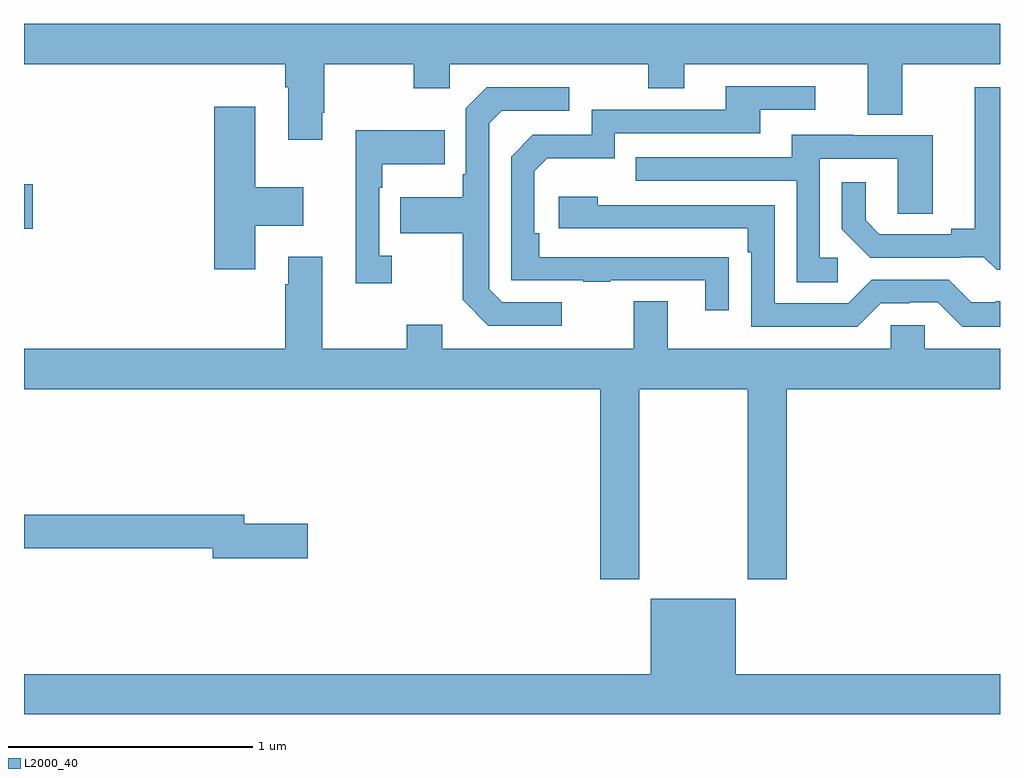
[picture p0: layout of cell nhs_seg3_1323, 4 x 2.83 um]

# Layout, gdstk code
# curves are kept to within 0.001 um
import gdstk
lib = gdstk.Library(unit=1e-6, precision=1e-09)
def R(c, l, rs):  # rectangles x0, y0, x1, y1
    for r in rs: c.add(gdstk.rectangle(r[:2], r[2:], *l))
def P(c, l, *ps):  # polygons
    for p in ps: c.add(gdstk.Polygon(p, *l))
L2000_40 = (2000, 40)

nhs_seg3_1323 = lib.new_cell('nhs_seg3_1323')
R(nhs_seg3_1323, L2000_40, [(179,722.885,179.035,723.068)])
P(nhs_seg3_1323, L2000_40, [(180.223,723.361),(180.231,723.361),(180.231,723.56),(180.598,723.56),(180.598,723.461),(180.744,723.461),(180.744,723.56),(181.558,723.56),(181.558,723.461),(181.705,723.461),(181.705,723.56),(182.459,723.56),(182.459,723.352),(182.599,723.352),(182.599,723.56),(183,723.56),(183,723.724),(179,723.724),(179,723.56),(180.071,723.56),(180.071,723.464),(180.083,723.464),(180.083,723.249),(180.223,723.249)],
  [(181.889,722.768),(181.112,722.769),(181.112,722.866),(181.092,722.866),(181.092,723.12),(181.145,723.173),(181.422,723.173),(181.422,723.276),(182.017,723.276),(182.017,723.372),(182.242,723.372),(182.242,723.468),(181.877,723.468),(181.877,723.372),(181.326,723.372),(181.326,723.27),(181.086,723.27),(180.996,723.18),(180.996,722.673),(181.291,722.673),(181.291,722.668),(181.403,722.668),(181.403,722.673),(181.793,722.673),(181.793,722.55),(181.889,722.55)],
  [(183,723.465),(182.897,723.465),(182.897,722.885),(182.801,722.885),(182.801,722.862),(182.506,722.862),(182.449,722.919),(182.449,723.076),(182.352,723.076),(182.352,722.882),(182.468,722.766),(182.84,722.766),(182.84,722.769),(182.934,722.769),(182.986,722.717),(183,722.717)],
  [(181.204,722.583),(180.96,722.583),(180.906,722.637),(180.906,723.318),(180.957,723.369),(181.234,723.369),(181.234,723.465),(180.897,723.465),(180.81,723.378),(180.81,723.109),(180.798,723.109),(180.798,723.013),(180.541,723.013),(180.541,722.866),(180.798,722.866),(180.798,722.593),(180.903,722.487),(181.204,722.487)],
  [(179.947,722.897),(180.145,722.897),(180.145,723.055),(179.947,723.055),(179.947,723.385),(179.78,723.385),(179.78,722.718),(179.947,722.718)],
  [(180.508,722.774),(180.456,722.774),(180.456,723.053),(180.469,723.053),(180.469,723.149),(180.725,723.149),(180.725,723.289),(180.359,723.289),(180.359,722.661),(180.508,722.661)],
  [(182.335,722.766),(182.262,722.766),(182.262,723.171),(182.58,723.171),(182.58,722.947),(182.725,722.947),(182.725,723.267),(182.401,723.267),(182.401,723.271),(182.147,723.271),(182.147,723.177),(181.507,723.177),(181.507,723.081),(182.166,723.081),(182.166,722.665),(182.335,722.665)],
  [(183,722.587),(182.983,722.587),(182.983,722.583),(182.883,722.583),(182.79,722.676),(182.475,722.676),(182.379,722.58),(182.076,722.58),(182.076,722.982),(181.352,722.982),(181.352,723.016),(181.191,723.016),(181.191,722.886),(181.967,722.886),(181.967,722.789),(181.98,722.789),(181.98,722.484),(182.415,722.484),(182.511,722.58),(182.63,722.58),(182.63,722.583),(182.745,722.583),(182.845,722.483),(183,722.483)],
  [(181.521,722.228),(181.966,722.228),(181.966,721.449),(182.126,721.449),(182.126,722.228),(183,722.228),(183,722.392),(182.691,722.392),(182.691,722.49),(182.553,722.49),(182.553,722.392),(181.639,722.392),(181.639,722.587),(181.499,722.587),(181.499,722.392),(180.715,722.392),(180.715,722.491),(180.568,722.491),(180.568,722.392),(180.223,722.392),(180.223,722.77),(180.083,722.77),(180.083,722.657),(180.071,722.657),(180.071,722.392),(179,722.392),(179,722.228),(181.361,722.228),(181.361,721.449),(181.521,721.449)],
  [(180.163,721.676),(179.902,721.676),(179.902,721.712),(179,721.712),(179,721.576),(179.774,721.576),(179.774,721.534),(180.163,721.534)],
  [(183,721.06),(181.918,721.06),(181.918,721.369),(181.568,721.369),(181.568,721.06),(179,721.06),(179,720.896),(183,720.896)])

lib.write_gds('nhs_seg3_1323.gds')
